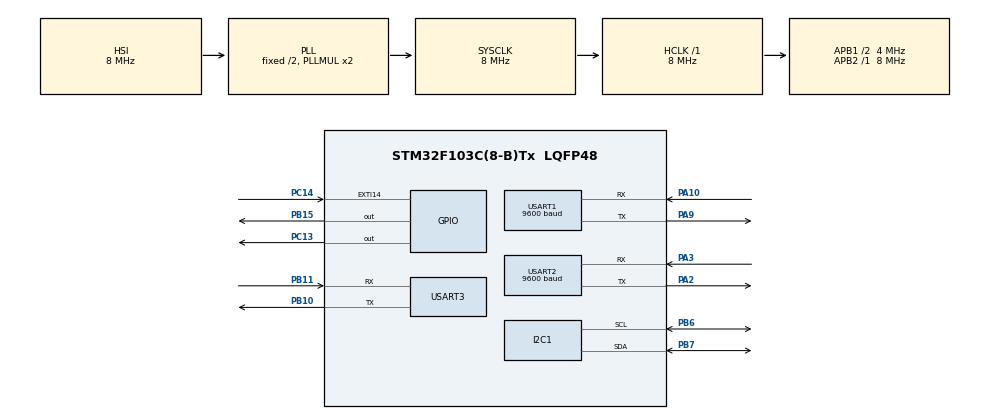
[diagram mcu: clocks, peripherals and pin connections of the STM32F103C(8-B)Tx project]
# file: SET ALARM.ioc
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I2C1.I2C_Mode=I2C_Fast
Mcu.Family=STM32F1
Mcu.Name=STM32F103C(8-B)Tx
Mcu.Package=LQFP48
NVIC.EXTI15_10_IRQn=true\:0\:0\:false\:false\:true\:true\:true\:true
NVIC.I2C1_ER_IRQn=true\:0\:0\:false\:false\:true\:true\:true\:true
NVIC.I2C1_EV_IRQn=true\:0\:0\:false\:false\:true\:true\:true\:true
NVIC.PriorityGroup=NVIC_PRIORITYGROUP_4
NVIC.TIM1_UP_IRQn=true\:0\:0\:false\:false\:true\:true\:true\:true
NVIC.TIM3_IRQn=true\:0\:0\:false\:false\:true\:true\:true\:true
NVIC.USART1_IRQn=true\:0\:0\:false\:false\:true\:true\:true\:true
PA10.Mode=Asynchronous
PA10.Signal=USART1_RX
PA13.Mode=Serial_Wire
PA13.Signal=SYS_JTMS-SWDIO
PA14.Mode=Serial_Wire
PA14.Signal=SYS_JTCK-SWCLK
PA2.Mode=Asynchronous
PA2.Signal=USART2_TX
PA3.Mode=Asynchronous
PA3.Signal=USART2_RX
PA9.Mode=Asynchronous
PA9.Signal=USART1_TX
PB10.Mode=Asynchronous
PB10.Signal=USART3_TX
PB11.Mode=Asynchronous
PB11.Signal=USART3_RX
PB15.GPIO_PuPd=GPIO_PULLUP
PB15.PinState=GPIO_PIN_RESET
PB15.Signal=GPIO_Output
PB6.Mode=I2C
PB6.Signal=I2C1_SCL
PB7.Mode=I2C
PB7.Signal=I2C1_SDA
PC13-TAMPER-RTC.Signal=GPIO_Output
PC14-OSC32_IN.GPIO_ModeDefaultEXTI=GPIO_MODE_IT_FALLING
PC14-OSC32_IN.GPIO_PuPd=GPIO_PULLUP
PC14-OSC32_IN.Signal=GPXTI14
ProjectManager.HeapSize=0x200
ProjectManager.StackSize=0x400
ProjectManager.TargetToolchain=STM32CubeIDE
RCC.AHBFreq_Value=8000000
RCC.APB1CLKDivider=RCC_HCLK_DIV2
RCC.APB1Freq_Value=4000000
RCC.APB1TimFreq_Value=8000000
RCC.APB2Freq_Value=8000000
RCC.APB2TimFreq_Value=8000000
RCC.HCLKFreq_Value=8000000
RCC.SYSCLKFreq_VALUE=8000000
RCC.SYSCLKSource=RCC_SYSCLKSOURCE_PLLCLK
RCC.USBFreq_Value=8000000
TIM1.Period=999
TIM1.Prescaler=7
TIM3.Period=999
TIM3.Prescaler=7999
USART1.BaudRate=9600
USART1.VirtualMode=VM_ASYNC
USART2.BaudRate=9600
USART2.VirtualMode=VM_ASYNC
USART3.VirtualMode=VM_ASYNC
VP_TIM1_VS_ClockSourceINT.Mode=Internal
VP_TIM3_VS_ClockSourceINT.Mode=Internal
board=custom

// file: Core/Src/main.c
// Bao gồm các file tiêu đề cần thiết cho chương trình, được tự động sinh bởi STM32CubeMX
#include "main.h"

/* USER CODE BEGIN Includes */
// Bao gồm các thư viện chuẩn của C và các thư viện dành riêng cho phần cứng
#include <string.h>              // Thư viện xử lý chuỗi (dùng cho sprintf, strlen, v.v.)
#include <stdio.h>               // Thư viện để định dạng chuỗi (dùng cho sprintf)
#include <stdbool.h>             // Thư viện hỗ trợ kiểu bool (true/false)
#include <time.h>                // Thư viện xử lý thời gian (dùng cho struct tm nếu cần)
#include <stdint.h>              // Thư viện định nghĩa các kiểu dữ liệu chuẩn (uint8_t, uint32_t, v.v.)

#include "delay.h"               // Thư viện hỗ trợ delay chính xác bằng timer

#include "ssd1306.h"             // Thư viện điều khiển màn hình OLED SSD1306
#include "fonts.h"               // Thư viện font chữ cho OLED
#include "ds1307_for_stm32_hal.h" // Thư viện điều khiển RTC DS1307 qua giao thức I2C

#include "sht4x.h"               // Thư viện điều khiển cảm biến nhiệt độ và độ ẩm SHT4x
#include "sensirion_i2c_hal.h"   // Thư viện hỗ trợ giao tiếp I2C cho cảm biến SHT4x

#include "DFPlayer.h"            // Thư viện điều khiển module DFPlayer Mini (phát nhạc MP3)
#include "sim.h"                 // Thư viện điều khiển module SIM (gửi SMS)
/* USER CODE END Includes */

/* USER CODE BEGIN PTD */
// Định nghĩa cấu trúc và kiểu dữ liệu cho chương trình
typedef struct ALARM_TIME {
    uint8_t Hour;   // Giờ của báo thức (0-23)
    uint8_t Minute; // Phút của báo thức (0-59)
} ALARM_TIME;

/* SystemState => Máy trạng thái để quản lý quá trình cài đặt thời gian báo thức qua HC-05 */
typedef enum {
    /* Trạng thái nghỉ */
    IDLE,
    /* Các trạng thái để nhập giờ */
    SET_HOUR,
    SET_HOUR_INPUT,  // Trạng thái để nhập giá trị giờ
    SET_HOUR_TENS,   // Trạng thái để nhập chữ số thứ hai của giờ
    /* Các trạng thái để nhập phút */
    SET_MIN,
    SET_MIN_INPUT,   // Trạng thái để nhập giá trị phút
    SET_MIN_TENS,    // Trạng thái để nhập chữ số thứ hai của phút
    /* Xác nhận thời gian báo thức */
    CONFIRM
} SystemState;
/* USER CODE END PTD */

/* USER CODE BEGIN PD */
// Định nghĩa các hằng số cho chương trình
#define INIT_RTC_TIME 1     // Khởi tạo RTC với thời gian mặc định (1: Bật, 0: Tắt)
#define PREDEFINED_INPUT 0  // Sử dụng thời gian báo thức định sẵn (1: Bật, 0: Tắt)
#define USER_INPUT 1        // Cho phép người dùng nhập thời gian báo thức (1: Bật, 0: Tắt)
#define UART_TIMEOUT 100    // Thời gian chờ tối đa cho truyền UART (tính bằng mili giây)
/* USER CODE END PD */

// Khai báo các biến cấu hình cho ngoại vi, tự động sinh bởi STM32CubeMX
I2C_HandleTypeDef hi2c1;    // Cấu hình giao thức I2C1 (cho DS1307 và SHT4x)

TIM_HandleTypeDef htim1;    // Cấu hình Timer 1 (dùng cho delay chính xác)
TIM_HandleTypeDef htim3;    // Cấu hình Timer 3 (dùng để cập nhật thời gian mỗi giây)

UART_HandleTypeDef huart1;  // Cấu hình UART1 (giao tiếp với HC-05 để nhập thời gian)
UART_HandleTypeDef huart2;  // Cấu hình UART2 (giao tiếp với DFPlayer để phát nhạc)
UART_HandleTypeDef huart3;  // Cấu hình UART3 (giao tiếp với module SIM để gửi SMS)

/* USER CODE BEGIN PV */
// Khai báo các biến toàn cục cho chương trình
volatile uint32_t tick_ms = 0; // Biến đếm mili giây (dùng cho delay)
volatile uint32_t tick_us = 0; // Biến đếm micro giây (dùng cho delay)

const char* dayOfWeek[] = {"Sun", "Mon", "Tue", "Wed", "Thu", "Fri", "Sat"}; // Mảng chứa tên các ngày trong tuần
DS1307_TIME current_time;      // Thời gian hiện tại lấy từ DS1307
ALARM_TIME set_time = {0, 0};  // Thời gian báo thức, khởi tạo mặc định là 00:00

DFPlayer_Context df_ctx;       // Cấu trúc điều khiển DFPlayer (phát nhạc)
SMS_Context sim_ctx;           // Cấu trúc điều khiển module SIM (gửi SMS)

int current_time_to_secs = 0;  // Thời gian hiện tại tính bằng giây
int set_time_to_secs = 0;      // Thời gian báo thức tính bằng giây
int lower_bound_secs = 0;      // Giới hạn dưới của cửa sổ thời gian (set_time - 30 phút)
int upper_bound_secs = 0;      // Giới hạn trên của cửa sổ thời gian (set_time + 30 phút)

float temp = 0.0f;             // Biến lưu giá trị nhiệt độ từ SHT4x
float humi = 0.0f;             // Biến lưu giá trị độ ẩm từ SHT4x

volatile uint8_t flag_update_time = 0; // Cờ để cập nhật thời gian mỗi giây
volatile uint8_t current_box_cnt = 0;  // Biến đếm số lần nhấn nút (dùng để debug)
volatile uint8_t box_mode = 0;         // Trạng thái hộp: 0 - Đóng, 1 - Mở
volatile uint8_t alarm_completed = 0;  // Cờ đánh dấu báo thức đã hoàn tất

uint32_t tick = 0;                     // Biến debug cho sự kiện timer
volatile uint8_t already_warned_mp3 = 0; // Cờ đảm bảo nhạc MP3 chỉ phát một lần
volatile uint8_t already_warned_sms = 0; // Cờ đảm bảo SMS chỉ gửi một lần
volatile uint8_t send_sms_now = 0;     // Cờ kích hoạt gửi SMS
char sms_message[50];                  // Bộ đệm chứa nội dung tin nhắn SMS

uint8_t rxData;                        // Bộ đệm chứa dữ liệu nhận từ HC-05
SystemState current_state = IDLE;      // Trạng thái hiện tại của hệ thống
/* USER CODE END PV */

// Khai báo prototype các hàm cấu hình ngoại vi, tự động sinh bởi STM32CubeMX
void SystemClock_Config(void);           // Cấu hình xung nhịp hệ thống
static void MX_GPIO_Init(void);          // Cấu hình GPIO
static void MX_I2C1_Init(void);          // Cấu hình I2C1
static void MX_USART1_UART_Init(void);   // Cấu hình USART1
static void MX_TIM3_Init(void);          // Cấu hình Timer 3
static void MX_USART2_UART_Init(void);   // Cấu hình USART2
static void MX_USART3_UART_Init(void);   // Cấu hình USART3
static void MX_TIM1_Init(void);          // Cấu hình Timer 1
/* USER CODE BEGIN PFP */
// Khai báo prototype các hàm tự viết
void Convert_Time_To_Seconds(DS1307_TIME _current_time, ALARM_TIME _set_time, int *_current_time_to_secs, int *_set_time_to_secs, int *_lower_bound_secs, int *_upper_bound_secs); // Chuyển thời gian thành giây
void Display_On_Oled(DS1307_TIME _current_time, ALARM_TIME _set_time, float _temp, float _humi); // Hiển thị thông tin lên màn hình OLED
/* USER CODE END PFP */

/* USER CODE BEGIN 0 */
// Hàm callback khi nhận dữ liệu UART hoàn tất
/*
- Hàm HAL_UART_RxCpltCallback là callback sau khi nhận dữ liệu:
+ Hàm này được gọi sau khi vi điều khiển đã nhận được 1 byte dữ liệu từ HC-05 (qua UART1). Dữ liệu nhận được lưu vào biến rxData.
+ Ví dụ: Khi bạn gửi ký tự 'S' từ điện thoại qua HC-05, rxData sẽ chứa giá trị 'S', và hàm này được gọi.

- Truyền dữ liệu (HAL_UART_Transmit) là phản hồi:
+ Sau khi nhận dữ liệu (ví dụ: 'S'), chương trình xử lý logic (chuyển trạng thái current_state = SET_HOUR) và gửi một phản hồi lại cho HC-05 (và đến điện thoại của bạn) để thông báo trạng thái tiếp theo.

- Chuẩn bị nhận dữ liệu tiếp theo (HAL_UART_Receive_IT):
Sau khi gửi phản hồi, chương trình gọi: HAL_UART_Receive_IT(&huart1, &rxData, 1); để chuẩn bị nhận ký tự tiếp theo từ HC-05 (ví dụ: bạn nhấn 'H' để bắt đầu nhập giờ).
Đây là cách hoạt động của UART trong chế độ ngắt (Interrupt Mode): mỗi lần nhận xong 1 byte, bạn cần gọi lại HAL_UART_Receive_IT để sẵn sàng nhận byte tiếp theo.
*/
void HAL_UART_RxCpltCallback(UART_HandleTypeDef *huart) {
    if (huart->Instance == USART1) { // Kiểm tra UART1 (giao tiếp với HC-05)
        switch (current_state) {
            case IDLE: // Trạng thái nghỉ
	    /*
            Điều kiện: Chờ ký tự S (START).
	    Hành động:
		Reset các biến set_time, set_time_to_mins, lower_bound_mins, upper_bound_mins về 0.
		Chuyển sang SET_HOUR.
		Gửi thông báo qua UART1: "PRESS [SET HOUR]\r\n".
	    Mục đích: Khởi động quy trình cài đặt khi nhận lệnh bắt đầu.
	    */
                if (rxData == 'S') { // Nhấn 'S' để bắt đầu cài đặt
                    set_time.Hour = 0;
                    set_time.Minute = 0;
                    set_time_to_secs = 0;
                    lower_bound_secs = 0;
                    upper_bound_secs = 0;
                    current_state = SET_HOUR;
                    HAL_UART_Transmit(&huart1, (uint8_t*)"PRESS [SET HOUR]\r\n", strlen("PRESS [SET HOUR]\r\n"), UART_TIMEOUT);
                }
                break;

            case SET_HOUR: // Trạng thái cài đặt giờ
	    /*
            Điều kiện: Chờ ký tự H (SET HOUR).
            Hành động:
		Gửi thông báo: "Enter H (0-23)\r\n".
		Chuyển sang SET_HOUR_INPUT.
            Mục đích: Yêu cầu người dùng nhập giờ (0-23).
            */
                if (rxData == 'H') { // Nhấn 'H' để nhập giờ
                    HAL_UART_Transmit(&huart1, (uint8_t*)"Enter H (0-23)\r\n", strlen("Enter H (0-23)\r\n"), UART_TIMEOUT);
                    current_state = SET_HOUR_INPUT;
                }
                break;

            case SET_HOUR_INPUT: // Nhập chữ số đầu tiên của giờ
	    /*
     	    Điều kiện: Nhận ký tự đầu tiên của giờ (0-2).
	    Hành động:
		Chuyển ký tự ASCII thành số nguyên (rxData - '0').
		Lưu vào set_time.Hour (chỉ chữ số đầu tiên).
		Chuyển sang SET_HOUR_TENS.
		Gọi HAL_UART_Receive_IT để nhận chữ số thứ hai.
   	    Mục đích: Nhận chữ số hàng chục của giờ (0-2).
            */
                if (rxData >= '0' && rxData <= '2') { // Chấp nhận giá trị từ 0-2
                    set_time.Hour = rxData - '0'; // Chuyển ASCII thành số
                    current_state = SET_HOUR_TENS;
                    HAL_UART_Receive_IT(&huart1, &rxData, 1);
                }
                break;

            case SET_HOUR_TENS: // Nhập chữ số thứ hai của giờ
	    /*
	    Điều kiện: Nhận chữ số thứ hai của giờ:
		Nếu set_time.Hour = 2, chấp nhận 0-3 (cho 20-23).
		Nếu set_time.Hour < 2, chấp nhận 0-9 (cho 00-19).
	    Hành động:
		Ghép chữ số thứ hai vào set_time.Hour (ví dụ: 2 + 3 = 23).
		Chuyển sang SET_MIN.
		Gửi thông báo: "PRESS [SET MIN]\r\n".
	    Mục đích: Hoàn tất nhập giờ và chuyển sang nhập phút.
            */
                if (set_time.Hour == 2 && rxData >= '0' && rxData <= '3') { // Giờ từ 20-23
                    set_time.Hour = (set_time.Hour * 10) + (rxData - '0');
                    current_state = SET_MIN;
                    HAL_UART_Transmit(&huart1, (uint8_t*)"PRESS [SET MIN]\r\n", strlen("PRESS [SET MIN]\r\n"), UART_TIMEOUT);
                }
                else if (set_time.Hour < 2 && rxData >= '0' && rxData <= '9') { // Giờ từ 00-19
                    set_time.Hour = (set_time.Hour * 10) + (rxData - '0');
                    current_state = SET_MIN;
                    HAL_UART_Transmit(&huart1, (uint8_t*)"PRESS [SET MIN]\r\n", strlen("PRESS [SET MIN]\r\n"), UART_TIMEOUT);
                }
                break;

            case SET_MIN: // Trạng thái cài đặt phút
            /*
    	    Điều kiện: Chờ ký tự M (SET MIN).
	    Hành động:
		Gửi thông báo: "Enter M (0-59)\r\n".
		Chuyển sang SET_MIN_INPUT.
	    Mục đích: Yêu cầu người dùng nhập phút (0-59).
            */
                if (rxData == 'M') { // Nhấn 'M' để nhập phút
                    HAL_UART_Transmit(&huart1, (uint8_t*)"Enter M (0-59)\r\n", strlen("Enter M (0-59)\r\n"), UART_TIMEOUT);
                    current_state = SET_MIN_INPUT;
                }
                break;

            case SET_MIN_INPUT: // Nhập chữ số đầu tiên của phút
	    /*
	    Điều kiện: Nhận ký tự đầu tiên của phút (0-5).
	    Hành động:
		Chuyển ký tự ASCII thành số nguyên.
		Lưu vào set_time.Minute (chỉ chữ số đầu tiên).
		Chuyển sang SET_MIN_TENS.
		Gọi HAL_UART_Receive_IT để nhận chữ số thứ hai.
	    Mục đích: Nhận chữ số hàng chục của phút (0-5).
            */
                if (rxData >= '0' && rxData <= '5') { // Chấp nhận giá trị từ 0-5
                    set_time.Minute = rxData - '0';
                    HAL_UART_Receive_IT(&huart1, &rxData, 1);
                    current_state = SET_MIN_TENS;
                }
                break;

            case SET_MIN_TENS: // Nhập chữ số thứ hai của phút
	    /*
	    Điều kiện: Nhận chữ số thứ hai của phút (0-9).
	    Hành động:
		Ghép chữ số thứ hai vào set_time.Minute (ví dụ: 5 + 9 = 59).
		Chuyển sang CONFIRM.
		Gửi thông báo: "Press [CONFIRM]\r\n".
    	    Mục đích: Hoàn tất nhập phút.
            */
                if (rxData >= '0' && rxData <= '9') { // Chấp nhận giá trị từ 0-9
                    set_time.Minute = (set_time.Minute * 10) + (rxData - '0');
                    current_state = CONFIRM;
                    HAL_UART_Transmit(&huart1, (uint8_t*)"Press [CONFIRM]\r\n", strlen("Press [CONFIRM]\r\n"), UART_TIMEOUT);
                }
                break;

            case CONFIRM: // Xác nhận thời gian báo thức
	    /*
    	    Điều kiện: Chờ ký tự C (CONFIRM).
	    Hành động:
		Hiển thị thời gian đã đặt: "Set to %02d:%02d\r\n".
		Quay về IDLE.
		Gửi thông báo: "DONE\r\n".
		Cập nhật tin nhắn SMS với thời gian mới.
		Tính lại các khoảng thời gian (lower_bound_mins, upper_bound_mins) bằng Convert_Time_To_Mins.
	    Mục đích: Xác nhận và lưu thời gian báo thức.
            */
                if (rxData == 'C') { // Nhấn 'C' để xác nhận
                    char confirm_msg[20];
                    sprintf(confirm_msg, "Set to %02d:%02d\r\n", set_time.Hour, set_time.Minute);
                    HAL_UART_Transmit(&huart1, (uint8_t*)confirm_msg, strlen(confirm_msg), UART_TIMEOUT);
                    current_state = IDLE;
                    HAL_UART_Transmit(&huart1, (uint8_t*)"DONE\r\n", strlen("DONE\r\n"), UART_TIMEOUT);
                    sprintf(sms_message, "You need to take your medicine at %02d:%02d", set_time.Hour, set_time.Minute);
                    Convert_Time_To_Seconds(current_time, set_time, ¤t_time_to_secs, &set_time_to_secs, &lower_bound_secs, &upper_bound_secs);
                    // Gửi thông báo thời gian báo thức ra UART để kiểm tra trên điện thoại
                    HAL_UART_Transmit(&huart1, (uint8_t*)sms_message, strlen(sms_message), UART_TIMEOUT);
                }
                break;

            default:
                break;
        }
        HAL_UART_Receive_IT(&huart1, &rxData, 1); // Chuẩn bị nhận dữ liệu tiếp theo
    }
}

// Hàm callback cho ngắt ngoài (khi nhấn nút)
void HAL_GPIO_EXTI_Callback(uint16_t GPIO_PIN) {
    if (GPIO_PIN == GPIO_PIN_14) { // Kiểm tra ngắt từ chân GPIO PC14
        current_box_cnt++; // Tăng biến đếm số lần nhấn nút (dùng để debug)
        for (int i = 0; i < 100000; i++); // Delay đơn giản để chống dội nút

        int timeout = 0;
        while (!HAL_GPIO_ReadPin(GPIOC, GPIO_PIN_14) && (timeout < 50000)) { // Đợi thả nút
            timeout++;
        }
        EXTI->PR |= GPIO_PIN_14; // Xóa cờ ngắt

        // Kiểm tra xem thời gian hiện tại có nằm trong cửa sổ hợp lệ [set_time - 30 phút; set_time + 30 phút)
        uint8_t is_valid_press_button = (lower_bound_secs <= upper_bound_secs)
            ? (current_time_to_secs >= lower_bound_secs && current_time_to_secs < upper_bound_secs)
            : (current_time_to_secs >= lower_bound_secs || current_time_to_secs < upper_bound_secs);

        // Kiểm tra xem có nằm trong cửa sổ phát nhạc [set_time; set_time + 30 phút)
        uint8_t in_window_mp3 = (set_time_to_secs < upper_bound_secs)
            ? (current_time_to_secs >= set_time_to_secs && current_time_to_secs < upper_bound_secs)
            : (current_time_to_secs >= set_time_to_secs || current_time_to_secs < upper_bound_secs);

        if (is_valid_press_button) { // Nếu nhấn nút trong cửa sổ hợp lệ
            box_mode = 1; // Đặt trạng thái hộp là mở
            alarm_completed = 1; // Đánh dấu báo thức đã hoàn tất
            HAL_GPIO_WritePin(GPIOB, GPIO_PIN_15, GPIO_PIN_SET); // Bật đèn báo hoặc relay

            if (in_window_mp3 && df_ctx.is_playing) { // Nếu đang phát nhạc trong cửa sổ
                DF_Pause(&df_ctx); // Tạm dừng nhạc
                already_warned_mp3 = 1; // Đánh dấu đã phát nhạc
            }
        }
        else {
            box_mode = 0; // Đặt trạng thái hộp là đóng
            HAL_GPIO_WritePin(GPIOB, GPIO_PIN_15, GPIO_PIN_RESET); // Tắt đèn báo hoặc relay
        }
    }
}

// Hàm callback cho ngắt Timer
void HAL_TIM_PeriodElapsedCallback(TIM_HandleTypeDef *htim) {
    if (htim->Instance == TIM1) { // Timer 1: dùng để đếm thời gian chính xác
        tick_ms++; // Tăng biến đếm mili giây
        tick_us += 1000; // Tăng biến đếm micro giây (1000 µs = 1 ms)
    }
    if (htim->Instance == TIM3) { // Timer 3: cập nhật thời gian mỗi giây
        HAL_GPIO_TogglePin(GPIOC, GPIO_PIN_13); // Đảo trạng thái chân PC13 (dùng để debug)
        flag_update_time = 1; // Đặt cờ để cập nhật thời gian và hiển thị

        current_time = DS1307_GetTime(); // Lấy thời gian hiện tại từ DS1307
        Convert_Time_To_Seconds(current_time, set_time, &current_time_to_secs, &set_time_to_secs, &lower_bound_secs, &upper_bound_secs);

        if (current_state != IDLE) { // Nếu đang trong trạng thái cài đặt thời gian, bỏ qua logic báo thức
            return;
        }

        // Kiểm tra xem thời gian hiện tại có nằm trong cửa sổ hợp lệ [set_time - 30 phút; set_time + 32 phút)
        uint8_t is_valid_alarm = (lower_bound_secs < (upper_bound_secs + 2 * 60) % 86400)
            ? (current_time_to_secs >= lower_bound_secs && current_time_to_secs <= (upper_bound_secs + 2 * 60) % 86400)
            : (current_time_to_secs >= lower_bound_secs || current_time_to_secs <= (upper_bound_secs + 2 * 60) % 86400);

        // Kiểm tra xem có nằm trong cửa sổ phát nhạc [set_time; set_time + 30 phút)
        uint8_t in_window_mp3 = (set_time_to_secs < upper_bound_secs)
            ? (current_time_to_secs >= set_time_to_secs && current_time_to_secs < upper_bound_secs)
            : (current_time_to_secs >= set_time_to_secs || current_time_to_secs < upper_bound_secs);

        if (is_valid_alarm) { // Nếu thời gian hiện tại nằm trong cửa sổ hợp lệ
            if (box_mode || alarm_completed) { // Nếu hộp đã mở hoặc báo thức đã hoàn tất
                if (already_warned_mp3) {
                    DF_Pause(&df_ctx); // Tạm dừng nhạc nếu đã phát
                }
                return;
            }
            else if (in_window_mp3 && !already_warned_mp3) { // Nếu trong cửa sổ phát nhạc và chưa phát
                DF_PlayFromStart(&df_ctx); // Phát nhạc từ đầu
                already_warned_mp3 = 1; // Đánh dấu đã phát nhạc
                tick = 1; // Biến debug
            }
            else if (current_time_to_secs >= upper_bound_secs) { // Nếu đã vượt quá cửa sổ phát nhạc
                if (df_ctx.is_playing) {
                    DF_Pause(&df_ctx); // Tạm dừng nhạc
                }
                if (!already_warned_sms) { // Nếu chưa gửi SMS
                    HAL_GPIO_WritePin(GPIOB, GPIO_PIN_15, GPIO_PIN_SET); // Bật đèn báo hoặc relay
                    tick = 2; // Biến debug
                    send_sms_now = 1; // Kích hoạt gửi SMS
                    already_warned_sms = 1; // Đánh dấu đã gửi SMS
                }
            }
        }
        else { // Nếu ngoài cửa sổ hợp lệ, reset tất cả trạng thái
            HAL_GPIO_WritePin(GPIOB, GPIO_PIN_15, GPIO_PIN_RESET);
            box_mode = 0;
            already_warned_mp3 = 0;
            send_sms_now = 0;
            already_warned_sms = 0;
            alarm_completed = 0;
            if (df_ctx.is_playing) {
                DF_Pause(&df_ctx);
            }
        }
    }
}
/* USER CODE END 0 */

/**
  * @brief  Điểm vào của chương trình
  * @retval int
  */
int main(void) {
    HAL_Init(); // Khởi tạo HAL
    SystemClock_Config(); // Cấu hình xung nhịp hệ thống
    MX_GPIO_Init(); // Cấu hình GPIO
    MX_I2C1_Init(); // Cấu hình I2C1
    MX_USART1_UART_Init(); // Cấu hình USART1
    MX_TIM3_Init(); // Cấu hình Timer 3
    MX_USART2_UART_Init(); // Cấu hình USART2
    MX_USART3_UART_Init(); // Cấu hình USART3
    MX_TIM1_Init(); // Cấu hình Timer 1
    HAL_TIM_Base_Start_IT(&htim3); // Bật Timer 3 với ngắt
    delay_init(); // Khởi tạo module delay
    DS1307_Init(&hi2c1); // Khởi tạo RTC DS1307
    SSD1306_Init(); // Khởi tạo màn hình OLED
    sensirion_i2c_init(); // Khởi tạo I2C cho SHT4x
    sht4x_init(); // Khởi tạo cảm biến SHT4x
    DF_Init(&df_ctx, &huart2, 15); // Khởi tạo DFPlayer với âm lượng 15
    sprintf(sms_message, "You need to take your medicine at %02d:%02d", set_time.Hour, set_time.Minute);
    SIM_SendSMS_Init(&sim_ctx, &huart3, "+84935120229", sms_message); // Khởi tạo module SIM

    #if INIT_RTC_TIME // Nếu bật tùy chọn khởi tạo thời gian RTC
        DS1307_SetClockHalt(0); // Bật đồng hồ
        DS1307_SetTimeZone(+7, 0); // Đặt múi giờ +7
        DS1307_SetDate(04); // Đặt ngày 04
        DS1307_SetMonth(05); // Đặt tháng 05
        DS1307_SetYear(2025); // Đặt năm 2025
        DS1307_SetDayOfWeek(0); // Đặt ngày trong tuần (0 = Chủ nhật)
        DS1307_SetHour(15); // Đặt giờ 15
        DS1307_SetMinute(00); // Đặt phút 00
        DS1307_SetSecond(40); // Đặt giây 40
    #endif
    /*
    Preprocessor directives – Chỉ thị tiền xử lý:
    + Chỉ thị tiền xử lý là những chỉ thị được sử dụng mang mục đích để trình biên dịch xử lý những thông tin trước khi bắt đầu quá trình dịch.
    + Tất cả các chỉ thị tiền xử lý đều bắt đầu với # và các chỉ thị tiền xử lý không phải là lệnh C/C++ vì vậy không có dấu ; khi kết thúc.
    + Tiền xử lý được nhận dạng và xử lý trước khi mở rộng các macro (macro expansion).
    Nên khi macro được mở rộng thành lệnh chứa chỉ thị tiền xử lý thì lệnh đó sẽ không được phát hiện.
    Các chỉ thị tiền xử lý có thể xuất hiện ở bất kỳ đâu trong source file, nhưng chúng chỉ được áp dụng cho phần source kể từ dòng code mà chúng xuất hiện.
	Trong ngôn ngữ C, chỉ thị tiền xử lý được chia ra làm các nhóm phổ biến sau: Chỉ thị tạo/hủy định nghĩa macro (#define/#undef), Chỉ thị biên dịch có điều kiện (#if, #elif, #else, #endif, #ifdef, #ifndef)
										     Chỉ thị bao hàm tệp (#include), Chỉ thị thông báo lỗi (#error)
    Cú pháp #if, #elif, và #endif là gì?
	Đây là các directive của preprocessor (chỉ thị tiền xử lý) trong ngôn ngữ C/C++. Preprocessor là bước đầu tiên khi biên dịch code, nó xử lý các dòng bắt đầu bằng # (như #include, #define, #if, v.v.) trước khi biên dịch thực sự.
	#if, #elif, và #endif được dùng để kiểm tra điều kiện và chọn lọc code sẽ được biên dịch dựa trên giá trị của các hằng số (thường được định nghĩa bằng #define).
    */
    #if PREDEFINED_INPUT // Nếu dùng thời gian báo thức định sẵn
        set_time.Hour = 14;
        set_time.Minute = 31;
        Convert_Time_To_Seconds(current_time, set_time, &current_time_to_secs, &set_time_to_secs, &lower_bound_secs, &upper_bound_secs);
    #elif USER_INPUT // Nếu cho phép người dùng nhập thời gian
        HAL_Delay(10);
        HAL_UART_Transmit(&huart1, (uint8_t*)"ALARM_PROJECT\r\n", strlen("ALARM_PROJECT\r\n"), UART_TIMEOUT);
        HAL_Delay(10);
        HAL_UART_Transmit(&huart1, (uint8_t*)"Press [START]\r\n", strlen("Press [START]\r\n"), UART_TIMEOUT);
        HAL_UART_Receive_IT(&huart1, &rxData, 1); // Bật ngắt nhận UART
    #endif

    sprintf(sms_message, "You need to take your medicine at %02d:%02d", set_time.Hour, set_time.Minute);
    box_mode = 0; // Đặt trạng thái hộp là đóng
    already_warned_mp3 = 0; // Reset cờ phát nhạc
    send_sms_now = 0; // Reset cờ gửi SMS
    already_warned_sms = 0; // Reset cờ gửi SMS
    alarm_completed = 0; // Reset cờ báo thức hoàn tất

    while (1) { // Vòng lặp chính
        sht4x_measure_blocking_read(&temp, &humi); // Đọc nhiệt độ và độ ẩm từ SHT4x
        if (flag_update_time) { // Nếu có cờ cập nhật thời gian
            flag_update_time = 0; // Xóa cờ
            current_time = DS1307_GetTime(); // Lấy thời gian hiện tại
            Display_On_Oled(current_time, set_time, temp, humi); // Hiển thị lên OLED
        }
        if (send_sms_now) { // Nếu có cờ gửi SMS
            SIM_SendSMS_Update(&sim_ctx, 1); // Gửi SMS
            send_sms_now = 0; // Reset cờ
        }
        else {
            SIM_SendSMS_Update(&sim_ctx, 0); // Cập nhật trạng thái module SIM
        }
        DF_Update(&df_ctx); // Cập nhật trạng thái DFPlayer
    }
}

/**
  * @brief Cấu hình xung nhịp hệ thống
  * @retval None
  */
void SystemClock_Config(void) {
    RCC_OscInitTypeDef RCC_OscInitStruct = {0};
    RCC_ClkInitTypeDef RCC_ClkInitStruct = {0};
    RCC_OscInitStruct.OscillatorType = RCC_OSCILLATORTYPE_HSI; // Sử dụng dao động nội HSI
    RCC_OscInitStruct.HSIState = RCC_HSI_ON; // Bật HSI
    RCC_OscInitStruct.HSICalibrationValue = RCC_HSICALIBRATION_DEFAULT; // Giá trị hiệu chỉnh mặc định
    RCC_OscInitStruct.PLL.PLLState = RCC_PLL_ON; // Bật PLL
    RCC_OscInitStruct.PLL.PLLSource = RCC_PLLSOURCE_HSI_DIV2; // Nguồn PLL là HSI/2
    RCC_OscInitStruct.PLL.PLLMUL = RCC_PLL_MUL2; // Nhân tần số PLL lên 2
    if (HAL_RCC_OscConfig(&RCC_OscInitStruct) != HAL_OK) {
        Error_Handler();
    }
    RCC_ClkInitStruct.ClockType = RCC_CLOCKTYPE_HCLK | RCC_CLOCKTYPE_SYSCLK | RCC_CLOCKTYPE_PCLK1 | RCC_CLOCKTYPE_PCLK2;
    RCC_ClkInitStruct.SYSCLKSource = RCC_SYSCLKSOURCE_PLLCLK; // Sử dụng PLL làm nguồn xung nhịp hệ thống
    RCC_ClkInitStruct.AHBCLKDivider = RCC_SYSCLK_DIV1; // Không chia tần AHB
    RCC_ClkInitStruct.APB1CLKDivider = RCC_HCLK_DIV2; // Chia tần APB1
    RCC_ClkInitStruct.APB2CLKDivider = RCC_HCLK_DIV1; // Không chia tần APB2
    if (HAL_RCC_ClockConfig(&RCC_ClkInitStruct, FLASH_LATENCY_0) != HAL_OK) {
        Error_Handler();
    }
}

/**
  * @brief Khởi tạo giao thức I2C1
  * @param None
  * @retval None
  */
static void MX_I2C1_Init(void) {
    hi2c1.Instance = I2C1; // Sử dụng I2C1
    hi2c1.Init.ClockSpeed = 400000; // Tốc độ I2C 400kHz
    hi2c1.Init.DutyCycle = I2C_DUTYCYCLE_2; // Chu kỳ nhiệm vụ mặc định
    hi2c1.Init.OwnAddress1 = 0; // Địa chỉ của thiết bị (không dùng)
    hi2c1.Init.AddressingMode = I2C_ADDRESSINGMODE_7BIT; // Chế độ địa chỉ 7-bit
    hi2c1.Init.DualAddressMode = I2C_DUALADDRESS_DISABLE; // Tắt chế độ địa chỉ kép
    hi2c1.Init.OwnAddress2 = 0; // Địa chỉ thứ hai (không dùng)
    hi2c1.Init.GeneralCallMode = I2C_GENERALCALL_DISABLE; // Tắt chế độ gọi chung
    hi2c1.Init.NoStretchMode = I2C_NOSTRETCH_DISABLE; // Bật chế độ kéo dài xung
    if (HAL_I2C_Init(&hi2c1) != HAL_OK) {
        Error_Handler();
    }
}

/**
  * @brief Khởi tạo Timer 1
  * @param None
  * @retval None
  */
static void MX_TIM1_Init(void) {
    TIM_ClockConfigTypeDef sClockSourceConfig = {0};
    TIM_MasterConfigTypeDef sMasterConfig = {0};
    htim1.Instance = TIM1; // Sử dụng Timer 1
    htim1.Init.Prescaler = 7; // Bộ chia tần
    htim1.Init.CounterMode = TIM_COUNTERMODE_UP; // Đếm tăng
    htim1.Init.Period = 999; // Chu kỳ đếm
    htim1.Init.ClockDivision = TIM_CLOCKDIVISION_DIV1; // Không chia tần
    htim1.Init.RepetitionCounter = 0; // Không lặp lại
    htim1.Init.AutoReloadPreload = TIM_AUTORELOAD_PRELOAD_DISABLE; // Tắt preload
    if (HAL_TIM_Base_Init(&htim1) != HAL_OK) {
        Error_Handler();
    }
    sClockSourceConfig.ClockSource = TIM_CLOCKSOURCE_INTERNAL; // Nguồn xung nhịp nội
    if (HAL_TIM_ConfigClockSource(&htim1, &sClockSourceConfig) != HAL_OK) {
        Error_Handler();
    }
    sMasterConfig.MasterOutputTrigger = TIM_TRGO_RESET; // Reset trigger
    sMasterConfig.MasterSlaveMode = TIM_MASTERSLAVEMODE_DISABLE; // Tắt chế độ Master-Slave
    if (HAL_TIMEx_MasterConfigSynchronization(&htim1, &sMasterConfig) != HAL_OK) {
        Error_Handler();
    }
}

/**
  * @brief Khởi tạo Timer 3
  * @param None
  * @retval None
  */
static void MX_TIM3_Init(void) {
    TIM_ClockConfigTypeDef sClockSourceConfig = {0};
    TIM_MasterConfigTypeDef sMasterConfig = {0};
    htim3.Instance = TIM3; // Sử dụng Timer 3
    htim3.Init.Prescaler = 7999; // Bộ chia tần
    htim3.Init.CounterMode = TIM_COUNTERMODE_UP; // Đếm tăng
    htim3.Init.Period = 999; // Chu kỳ đếm
    htim3.Init.ClockDivision = TIM_CLOCKDIVISION_DIV1; // Không chia tần
    htim3.Init.AutoReloadPreload = TIM_AUTORELOAD_PRELOAD_DISABLE; // Tắt preload
    if (HAL_TIM_Base_Init(&htim3) != HAL_OK) {
        Error_Handler();
    }
    sClockSourceConfig.ClockSource = TIM_CLOCKSOURCE_INTERNAL; // Nguồn xung nhịp nội
    if (HAL_TIM_ConfigClockSource(&htim3, &sClockSourceConfig) != HAL_OK) {
        Error_Handler();
    }
    sMasterConfig.MasterOutputTrigger = TIM_TRGO_RESET; // Reset trigger
    sMasterConfig.MasterSlaveMode = TIM_MASTERSLAVEMODE_DISABLE; // Tắt chế độ Master-Slave
    if (HAL_TIMEx_MasterConfigSynchronization(&htim3, &sMasterConfig) != HAL_OK) {
        Error_Handler();
    }
}

/**
  * @brief Khởi tạo USART1 (giao tiếp với HC-05)
  * @param None
  * @retval None
  */
static void MX_USART1_UART_Init(void) {
    huart1.Instance = USART1; // Sử dụng USART1
    huart1.Init.BaudRate = 9600; // Tốc độ baud 9600
    huart1.Init.WordLength = UART_WORDLENGTH_8B; // Độ dài từ 8 bit
    huart1.Init.StopBits = UART_STOPBITS_1; // 1 bit dừng
    huart1.Init.Parity = UART_PARITY_NONE; // Không kiểm tra chẵn lẻ
    huart1.Init.Mode = UART_MODE_TX_RX; // Chế độ gửi và nhận
    huart1.Init.HwFlowCtl = UART_HWCONTROL_NONE; // Không điều khiển dòng
    huart1.Init.OverSampling = UART_OVERSAMPLING_16; // Lấy mẫu 16 lần
    if (HAL_UART_Init(&huart1) != HAL_OK) {
        Error_Handler();
    }
}

/**
  * @brief Khởi tạo USART2 (giao tiếp với DFPlayer)
  * @param None
  * @retval None
  */
static void MX_USART2_UART_Init(void) {
    huart2.Instance = USART2; // Sử dụng USART2
    huart2.Init.BaudRate = 9600; // Tốc độ baud 9600
    huart2.Init.WordLength = UART_WORDLENGTH_8B; // Độ dài từ 8 bit
    huart2.Init.StopBits = UART_STOPBITS_1; // 1 bit dừng
    huart2.Init.Parity = UART_PARITY_NONE; // Không kiểm tra chẵn lẻ
    huart2.Init.Mode = UART_MODE_TX_RX; // Chế độ gửi và nhận
    huart2.Init.HwFlowCtl = UART_HWCONTROL_NONE; // Không điều khiển dòng
    huart2.Init.OverSampling = UART_OVERSAMPLING_16; // Lấy mẫu 16 lần
    if (HAL_UART_Init(&huart2) != HAL_OK) {
        Error_Handler();
    }
}

/**
  * @brief Khởi tạo USART3 (giao tiếp với module SIM)
  * @param None
  * @retval None
  */
static void MX_USART3_UART_Init(void) {
    huart3.Instance = USART3; // Sử dụng USART3
    huart3.Init.BaudRate = 115200; // Tốc độ baud 115200
    huart3.Init.WordLength = UART_WORDLENGTH_8B; // Độ dài từ 8 bit
    huart3.Init.StopBits = UART_STOPBITS_1; // 1 bit dừng
    huart3.Init.Parity = UART_PARITY_NONE; // Không kiểm tra chẵn lẻ
    huart3.Init.Mode = UART_MODE_TX_RX; // Chế độ gửi và nhận
    huart3.Init.HwFlowCtl = UART_HWCONTROL_NONE; // Không điều khiển dòng
    huart3.Init.OverSampling = UART_OVERSAMPLING_16; // Lấy mẫu 16 lần
    if (HAL_UART_Init(&huart3) != HAL_OK) {
        Error_Handler();
    }
}

/**
  * @brief Khởi tạo GPIO
  * @param None
  * @retval None
  */
static void MX_GPIO_Init(void) {
    GPIO_InitTypeDef GPIO_InitStruct = {0};
    __HAL_RCC_GPIOC_CLK_ENABLE(); // Bật xung nhịp cho cổng GPIOC
    __HAL_RCC_GPIOA_CLK_ENABLE(); // Bật xung nhịp cho cổng GPIOA
    __HAL_RCC_GPIOB_CLK_ENABLE(); // Bật xung nhịp cho cổng GPIOB
    HAL_GPIO_WritePin(GPIOC, GPIO_PIN_13, GPIO_PIN_RESET); // Đặt chân PC13 về mức thấp
    HAL_GPIO_WritePin(GPIOB, GPIO_PIN_15, GPIO_PIN_RESET); // Đặt chân PB15 về mức thấp
    GPIO_InitStruct.Pin = GPIO_PIN_13; // Cấu hình chân PC13
    GPIO_InitStruct.Mode = GPIO_MODE_OUTPUT_PP; // Chế độ đầu ra Push-Pull
    GPIO_InitStruct.Pull = GPIO_NOPULL; // Không kéo lên/kéo xuống
    GPIO_InitStruct.Speed = GPIO_SPEED_FREQ_LOW; // Tốc độ thấp
    HAL_GPIO_Init(GPIOC, &GPIO_InitStruct);
    GPIO_InitStruct.Pin = GPIO_PIN_14; // Cấu hình chân PC14
    GPIO_InitStruct.Mode = GPIO_MODE_IT_FALLING; // Chế độ ngắt, kích hoạt khi tín hiệu giảm
    GPIO_InitStruct.Pull = GPIO_PULLUP; // Kéo lên
    HAL_GPIO_Init(GPIOC, &GPIO_InitStruct);
    GPIO_InitStruct.Pin = GPIO_PIN_15; // Cấu hình chân PB15
    GPIO_InitStruct.Mode = GPIO_MODE_OUTPUT_PP; // Chế độ đầu ra Push-Pull
    GPIO_InitStruct.Pull = GPIO_PULLUP; // Kéo lên
    GPIO_InitStruct.Speed = GPIO_SPEED_FREQ_LOW; // Tốc độ thấp
    HAL_GPIO_Init(GPIOB, &GPIO_InitStruct);
    HAL_NVIC_SetPriority(EXTI15_10_IRQn, 0, 0); // Đặt độ ưu tiên ngắt
    HAL_NVIC_EnableIRQ(EXTI15_10_IRQn); // Bật ngắt EXTI
}

/* USER CODE BEGIN 4 */
// Hàm chuyển đổi thời gian thành giây
void Convert_Time_To_Seconds(DS1307_TIME _current_time, ALARM_TIME _set_time, int *_current_time_to_secs, int *_set_time_to_secs, int *_lower_bound_secs, int *_upper_bound_secs) {
    *_current_time_to_secs = _current_time.Hour * 3600 + _current_time.Minute * 60 + _current_time.Second; // Chuyển thời gian hiện tại thành giây
    *_set_time_to_secs = _set_time.Hour * 3600 + _set_time.Minute * 60; // Chuyển thời gian báo thức thành giây
    *_lower_bound_secs = *_set_time_to_secs - (30 * 60); // Giới hạn dưới (set_time - 30 phút)
    *_upper_bound_secs = *_set_time_to_secs + (30 * 60); // Giới hạn trên (set_time + 30 phút)

    if (*_lower_bound_secs < 0) *_lower_bound_secs += 86400; // Xử lý khi giới hạn dưới âm
    if (*_upper_bound_secs >= 86400) *_upper_bound_secs -= 86400; // Xử lý khi giới hạn trên vượt quá 1 ngày
}

// Hàm hiển thị thông tin lên màn hình OLED
void Display_On_Oled(DS1307_TIME _current_time, ALARM_TIME _set_time, float _temp, float _humi) {
    char line1_oled[21];
    char line2_oled[21];
    char line3_oled[21];
    sprintf(line1_oled, "Tem:%.1f Hum:%.1f%%", _temp, _humi); // Dòng 1: Nhiệt độ và độ ẩm
    sprintf(line2_oled, "%s,%02d/%02d %02d:%02d:%02d", dayOfWeek[_current_time.DoW], _current_time.Date, _current_time.Month, _current_time.Hour, _current_time.Minute, _current_time.Second); // Dòng 2: Ngày giờ hiện tại
    sprintf(line3_oled, "Alarm_Time:[%02d:%02d]", _set_time.Hour, _set_time.Minute); // Dòng 3: Thời gian báo thức
    SSD1306_Fill(SSD1306_COLOR_BLACK); // Xóa màn hình
    SSD1306_GotoXY(0, 10); SSD1306_Puts(line1_oled, &Font_7x10, SSD1306_COLOR_WHITE); // Hiển thị dòng 1
    SSD1306_GotoXY(0, 30); SSD1306_Puts(line2_oled, &Font_7x10, SSD1306_COLOR_WHITE); // Hiển thị dòng 2
    SSD1306_GotoXY(0, 50); SSD1306_Puts(line3_oled, &Font_7x10, SSD1306_COLOR_WHITE); // Hiển thị dòng 3
    SSD1306_UpdateScreen(); // Cập nhật màn hình
}
/* USER CODE END 4 */

/**
  * @brief Xử lý lỗi
  * @retval None
  */
void Error_Handler(void) {
    __disable_irq(); // Tắt ngắt toàn cục
    while (1) { // Vòng lặp vô hạn khi xảy ra lỗi
    }
}
